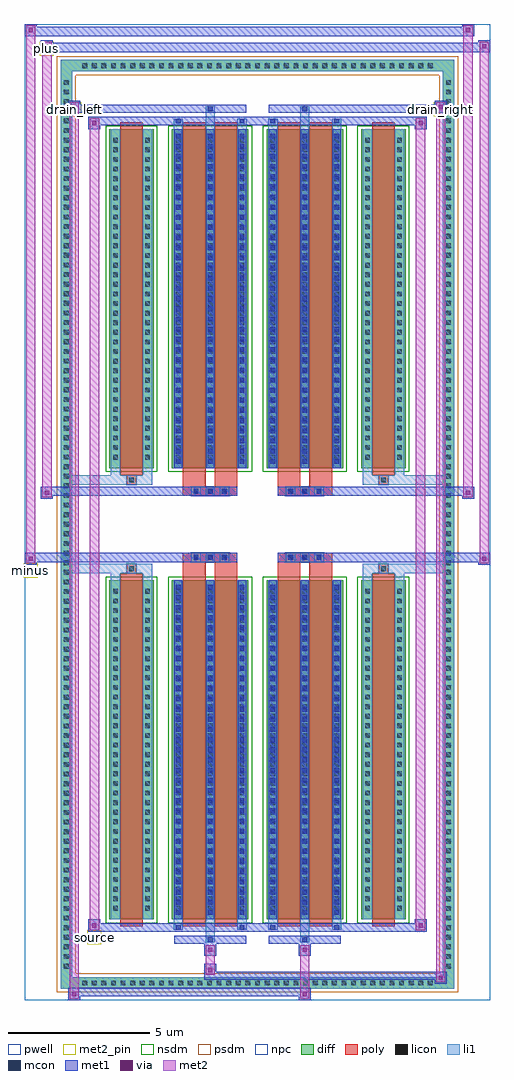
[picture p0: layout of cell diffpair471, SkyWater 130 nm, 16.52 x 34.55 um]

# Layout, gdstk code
import gdstk
lib = gdstk.Library(unit=1e-6, precision=5e-09)
def R(c, l, rs):  # rectangles x0, y0, x1, y1
    for r in rs: c.add(gdstk.rectangle(r[:2], r[2:], *l))
def A(c, l, x, y, w, h, nx, ny, dx, dy):  # array of equal rectangles
    R(c, l, [(x+i*dx, y+j*dy, x+i*dx+w, y+j*dy+h) for i in range(nx) for j in range(ny)])
def P(c, l, *ps):  # polygons
    for p in ps: c.add(gdstk.Polygon(p, *l))
pwell = (64, 44)
diff = (65, 20)
poly = (66, 20)
licon = (66, 44)
li1 = (67, 20)
mcon = (67, 44)
met1 = (68, 20)
via = (68, 44)
met2_pin = (69, 16)
met2 = (69, 20)
nsdm = (93, 44)
psdm = (94, 20)
npc = (95, 20)

diffpair471 = lib.new_cell('diffpair471')
R(diffpair471, pwell, [(-8.24,-16.84,8.24,17.71), (-5.56,-15.03,-0.01,-0.805), (0.01,-15.03,5.56,-0.805), (-5.56,0.805,-0.01,15.03), (0.01,0.805,5.56,15.03)])
A(diffpair471, diff, -6.325, -16.44, 0.41, 0.41, 37, 2, 0.34, 32.47)
A(diffpair471, diff, -6.97, -15.845, 0.41, 0.41, 1, 93, 0, 0.34)
A(diffpair471, diff, 6.56, -15.845, 0.41, 0.41, 1, 93, 0, 0.34)
R(diffpair471, diff, [(-6.325,-16.44,6.325,-16.03), (-6.97,-15.845,-6.56,15.845), (6.56,-15.845,6.97,15.845), (-5.25,-13.985,-3.67,-1.985), (-3.03,-13.985,-0.32,-1.985), (0.32,-13.985,3.03,-1.985), (3.67,-13.985,5.25,-1.985), (-5.25,1.985,-3.67,13.985), (-3.03,1.985,-0.32,13.985), (0.32,1.985,3.03,13.985), (3.67,1.985,5.25,13.985), (-6.325,16.03,6.325,16.44)])
P(diffpair471, diff, [(6.97,16.44),(-6.97,16.44),(-6.97,-16.03),(-6.56,-16.03),(-6.56,16.03),(6.56,16.03),(6.56,-16.03),(-6.56,-16.03),(-6.97,-16.03),(-6.97,-16.44),(6.97,-16.44)])
A(diffpair471, poly, -2.34, -1.335, 0.33, 0.33, 3, 2, 0.5, 2.34)
A(diffpair471, poly, 1.01, -1.335, 0.33, 0.33, 3, 2, 0.5, 2.34)
R(diffpair471, poly, [(-4.86,-14.235,-4.06,-1.735), (-2.64,-14.235,-1.84,-1.735), (-1.51,-14.235,-0.71,-1.735), (0.71,-14.235,1.51,-1.735), (1.84,-14.235,2.64,-1.735), (4.06,-14.235,4.86,-1.735), (-4.625,-1.735,-4.295,-1.405), (-4.625,-1.735,-4.295,-1.405), (-2.64,-1.735,-1.84,-1.335), (-1.51,-1.735,-0.71,-1.335), (0.71,-1.735,1.51,-1.335), (1.84,-1.735,2.64,-1.335), (4.295,-1.735,4.625,-1.405), (4.295,-1.735,4.625,-1.405), (-2.64,-1.335,-0.71,-1.005), (0.71,-1.335,2.64,-1.005), (-2.64,1.005,-0.71,1.335), (0.71,1.005,2.64,1.335), (-2.64,1.335,-1.84,1.735), (-1.51,1.335,-0.71,1.735), (0.71,1.335,1.51,1.735), (1.84,1.335,2.64,1.735), (-4.625,1.405,-4.295,1.735), (-4.625,1.405,-4.295,1.735), (4.295,1.405,4.625,1.735), (4.295,1.405,4.625,1.735), (-4.86,1.735,-4.06,14.235), (-2.64,1.735,-1.84,14.235), (-1.51,1.735,-0.71,14.235), (0.71,1.735,1.51,14.235), (1.84,1.735,2.64,14.235), (4.06,1.735,4.86,14.235)])
A(diffpair471, licon, -6.205, -16.32, 0.17, 0.17, 37, 2, 0.34, 32.47)
A(diffpair471, licon, -6.85, -15.725, 0.17, 0.17, 1, 93, 0, 0.34)
A(diffpair471, licon, 6.68, -15.725, 0.17, 0.17, 1, 93, 0, 0.34)
A(diffpair471, licon, -5.11, -13.68, 0.17, 0.17, 1, 34, 0, 0.34)
A(diffpair471, licon, -3.98, -13.68, 0.17, 0.17, 1, 34, 0, 0.34)
A(diffpair471, licon, -2.89, -13.68, 0.17, 0.17, 3, 34, 1.13, 0.34)
A(diffpair471, licon, 0.46, -13.68, 0.17, 0.17, 3, 34, 1.13, 0.34)
A(diffpair471, licon, 3.81, -13.68, 0.17, 0.17, 1, 34, 0, 0.34)
A(diffpair471, licon, 4.94, -13.68, 0.17, 0.17, 1, 34, 0, 0.34)
A(diffpair471, licon, -2.26, -1.255, 0.17, 0.17, 3, 2, 0.5, 2.34)
A(diffpair471, licon, 1.09, -1.255, 0.17, 0.17, 3, 2, 0.5, 2.34)
A(diffpair471, licon, -5.11, 2.29, 0.17, 0.17, 1, 34, 0, 0.34)
A(diffpair471, licon, -3.98, 2.29, 0.17, 0.17, 1, 34, 0, 0.34)
A(diffpair471, licon, -2.89, 2.29, 0.17, 0.17, 3, 34, 1.13, 0.34)
A(diffpair471, licon, 0.46, 2.29, 0.17, 0.17, 3, 34, 1.13, 0.34)
A(diffpair471, licon, 3.81, 2.29, 0.17, 0.17, 1, 34, 0, 0.34)
A(diffpair471, licon, 4.94, 2.29, 0.17, 0.17, 1, 34, 0, 0.34)
R(diffpair471, licon, [(-4.545,-1.655,-4.375,-1.485), (4.375,-1.655,4.545,-1.485), (-4.545,1.485,-4.375,1.655), (4.375,1.485,4.545,1.655)])
A(diffpair471, li1, -6.285, -16.4, 0.33, 0.33, 37, 2, 0.34, 32.47)
A(diffpair471, li1, -6.93, -15.805, 0.33, 0.33, 1, 93, 0, 0.34)
A(diffpair471, li1, 6.6, -15.805, 0.33, 0.33, 1, 93, 0, 0.34)
A(diffpair471, li1, -2.97, -13.985, 0.33, 12, 3, 2, 1.13, 15.97)
A(diffpair471, li1, 0.38, -13.985, 0.33, 12, 3, 2, 1.13, 15.97)
A(diffpair471, li1, -2.89, -13.83, 0.17, 0.17, 3, 33, 1.13, 0.36)
A(diffpair471, li1, -2.89, -13.83, 0.17, 11.69, 3, 2, 1.13, 15.97)
A(diffpair471, li1, 0.46, -13.83, 0.17, 0.17, 3, 33, 1.13, 0.36)
A(diffpair471, li1, 0.46, -13.83, 0.17, 11.69, 3, 2, 1.13, 15.97)
A(diffpair471, li1, -5.19, -13.76, 0.33, 0.33, 1, 34, 0, 0.34)
A(diffpair471, li1, -4.06, -13.76, 0.33, 0.33, 1, 34, 0, 0.34)
A(diffpair471, li1, -2.97, -13.76, 0.33, 0.33, 3, 34, 1.13, 0.34)
A(diffpair471, li1, 0.38, -13.76, 0.33, 0.33, 3, 34, 1.13, 0.34)
A(diffpair471, li1, 3.73, -13.76, 0.33, 0.33, 1, 34, 0, 0.34)
A(diffpair471, li1, 4.86, -13.76, 0.33, 0.33, 1, 34, 0, 0.34)
A(diffpair471, li1, -2.34, -1.335, 0.33, 0.33, 3, 2, 0.5, 2.34)
A(diffpair471, li1, 1.01, -1.335, 0.33, 0.33, 3, 2, 0.5, 2.34)
A(diffpair471, li1, -2.89, 2.14, 0.17, 0.17, 3, 33, 1.13, 0.36)
A(diffpair471, li1, 0.46, 2.14, 0.17, 0.17, 3, 33, 1.13, 0.36)
A(diffpair471, li1, -5.19, 2.21, 0.33, 0.33, 1, 34, 0, 0.34)
A(diffpair471, li1, -4.06, 2.21, 0.33, 0.33, 1, 34, 0, 0.34)
A(diffpair471, li1, -2.97, 2.21, 0.33, 0.33, 3, 34, 1.13, 0.34)
A(diffpair471, li1, 0.38, 2.21, 0.33, 0.33, 3, 34, 1.13, 0.34)
A(diffpair471, li1, 3.73, 2.21, 0.33, 0.33, 1, 34, 0, 0.34)
A(diffpair471, li1, 4.86, 2.21, 0.33, 0.33, 1, 34, 0, 0.34)
R(diffpair471, li1, [(-6.97,-16.44,-6.56,-16.03), (-6.97,-16.44,-6.56,-16.03), (-6.56,-16.44,6.56,-16.03), (6.56,-16.44,6.97,-16.03), (6.56,-16.44,6.97,-16.03), (-6.97,-16.03,-6.56,16.03), (6.56,-16.03,6.97,16.03), (-1.84,-14.79,-1.51,-13.985), (-1.76,-14.79,-1.59,-14.62), (1.51,-14.79,1.84,-13.985), (1.59,-14.79,1.76,-14.62), (-2.97,-14.36,-2.64,-13.985), (-2.89,-14.36,-2.72,-14.19), (-0.71,-14.36,-0.38,-13.985), (-0.63,-14.36,-0.46,-14.19), (0.38,-14.36,0.71,-13.985), (0.46,-14.36,0.63,-14.19), (2.64,-14.36,2.97,-13.985), (2.72,-14.36,2.89,-14.19), (-5.19,-13.985,-4.86,-1.985), (-4.06,-13.985,-3.73,-1.985), (3.73,-13.985,4.06,-1.985), (4.86,-13.985,5.19,-1.985), (-5.19,-1.985,-4.86,-1.405), (-4.06,-1.985,-3.73,-1.405), (3.73,-1.985,4.06,-1.405), (4.86,-1.985,5.19,-1.405), (-6.97,-1.735,-4.625,-1.405), (-5.19,-1.735,-4.625,-1.405), (-4.625,-1.735,-4.295,-1.405), (-4.295,-1.735,-3.73,-1.405), (3.73,-1.735,4.295,-1.405), (4.295,-1.735,4.625,-1.405), (4.295,-1.735,6.97,-1.405), (4.625,-1.735,5.19,-1.405), (-6.97,1.405,-4.625,1.735), (-5.19,1.405,-4.625,1.735), (-5.19,1.405,-4.86,1.985), (-4.625,1.405,-4.295,1.735), (-4.295,1.405,-3.73,1.735), (-4.06,1.405,-3.73,1.985), (3.73,1.405,4.295,1.735), (3.73,1.405,4.06,1.985), (4.295,1.405,4.625,1.735), (4.295,1.405,6.97,1.735), (4.625,1.405,5.19,1.735), (4.86,1.405,5.19,1.985), (-5.19,1.985,-4.86,13.985), (-4.06,1.985,-3.73,13.985), (3.73,1.985,4.06,13.985), (4.86,1.985,5.19,13.985), (-2.97,13.985,-2.64,14.36), (-1.84,13.985,-1.51,14.79), (-0.71,13.985,-0.38,14.36), (0.38,13.985,0.71,14.36), (1.51,13.985,1.84,14.79), (2.64,13.985,2.97,14.36), (-2.89,14.19,-2.72,14.36), (-0.63,14.19,-0.46,14.36), (0.46,14.19,0.63,14.36), (2.72,14.19,2.89,14.36), (-1.76,14.62,-1.59,14.79), (1.59,14.62,1.76,14.79), (-6.97,16.03,-6.56,16.44), (-6.97,16.03,-6.56,16.44), (-6.56,16.03,6.56,16.44), (6.56,16.03,6.97,16.44), (6.56,16.03,6.97,16.44)])
A(diffpair471, mcon, -2.89, -13.83, 0.17, 0.17, 3, 33, 1.13, 0.36)
A(diffpair471, mcon, 0.46, -13.83, 0.17, 0.17, 3, 33, 1.13, 0.36)
A(diffpair471, mcon, -2.26, -1.255, 0.17, 0.17, 3, 2, 0.5, 2.34)
A(diffpair471, mcon, 1.09, -1.255, 0.17, 0.17, 3, 2, 0.5, 2.34)
A(diffpair471, mcon, -2.89, 2.14, 0.17, 0.17, 3, 33, 1.13, 0.36)
A(diffpair471, mcon, 0.46, 2.14, 0.17, 0.17, 3, 33, 1.13, 0.36)
R(diffpair471, mcon, [(-1.76,-14.79,-1.59,-14.62), (1.59,-14.79,1.76,-14.62), (-2.89,-14.36,-2.72,-14.19), (-0.63,-14.36,-0.46,-14.19), (0.46,-14.36,0.63,-14.19), (2.72,-14.36,2.89,-14.19), (-2.89,14.19,-2.72,14.36), (-0.63,14.19,-0.46,14.36), (0.46,14.19,0.63,14.36), (2.72,14.19,2.89,14.36), (-1.76,14.62,-1.59,14.79), (1.59,14.62,1.76,14.79)])
A(diffpair471, met1, -2.95, -13.985, 0.29, 12, 3, 2, 1.13, 15.97)
A(diffpair471, met1, 0.4, -13.985, 0.29, 12, 3, 2, 1.13, 15.97)
A(diffpair471, met1, -2.95, -13.89, 0.29, 0.29, 3, 33, 1.13, 0.36)
A(diffpair471, met1, 0.4, -13.89, 0.29, 0.29, 3, 33, 1.13, 0.36)
A(diffpair471, met1, -2.32, -1.315, 0.29, 0.29, 3, 2, 0.5, 2.34)
A(diffpair471, met1, 1.03, -1.315, 0.29, 0.29, 3, 2, 0.5, 2.34)
A(diffpair471, met1, -2.95, 2.08, 0.29, 0.29, 3, 33, 1.13, 0.36)
A(diffpair471, met1, 0.4, 2.08, 0.29, 0.29, 3, 33, 1.13, 0.36)
R(diffpair471, met1, [(-6.7,-16.84,-6.27,-16.41), (1.46,-16.84,1.89,-16.41), (-6.7,-16.7,1.89,-16.41), (6.27,-16.27,6.7,-15.84), (-1.89,-16.13,6.7,-15.84), (-1.89,-15.99,-1.46,-15.56), (-1.89,-15.28,-1.46,-14.85), (1.46,-15.28,1.89,-14.85), (-2.95,-14.85,-0.4,-14.56), (-1.82,-14.85,-1.53,-14.56), (0.4,-14.85,2.95,-14.56), (1.53,-14.85,1.82,-14.56), (-5.99,-14.42,-5.56,-13.99), (-5.99,-14.42,-2.95,-14.13), (-2.95,-14.42,-2.66,-14.13), (-2.95,-14.42,-0.4,-14.13), (-0.69,-14.42,-0.4,-14.13), (-0.4,-14.42,0.4,-14.13), (0.4,-14.42,0.69,-14.13), (0.4,-14.42,2.95,-14.13), (2.66,-14.42,2.95,-14.13), (2.95,-14.42,5.99,-14.13), (5.56,-14.42,5.99,-13.99), (-8.24,-1.435,-7.81,-1.005), (7.81,-1.435,8.24,-1.005), (-8.24,-1.335,-0.71,-1.005), (-2.64,-1.335,-0.71,-1.005), (0.71,-1.335,2.64,-1.005), (0.71,-1.335,8.24,-1.005), (-7.67,0.905,-7.24,1.335), (7.24,0.905,7.67,1.335), (-7.67,1.005,-2.64,1.335), (-2.64,1.005,-0.71,1.335), (0.71,1.005,2.64,1.335), (2.64,1.005,7.67,1.335), (-5.99,13.99,-5.56,14.42), (5.56,13.99,5.99,14.42), (-5.99,14.13,-2.95,14.42), (-2.95,14.13,-2.66,14.42), (-2.95,14.13,-0.4,14.42), (-0.69,14.13,-0.4,14.42), (-0.4,14.13,0.4,14.42), (0.4,14.13,0.69,14.42), (0.4,14.13,2.95,14.42), (2.66,14.13,2.95,14.42), (2.95,14.13,5.99,14.42), (-6.7,14.56,-6.27,14.99), (-6.7,14.56,-2.95,14.85), (-2.95,14.56,-0.4,14.85), (-1.82,14.56,-1.53,14.85), (0.4,14.56,2.95,14.85), (1.53,14.56,1.82,14.85), (2.95,14.56,6.7,14.85), (6.27,14.56,6.7,14.99), (-7.67,16.71,-7.24,17.14), (-7.67,16.71,-5.56,17.04), (-5.56,16.71,5.56,17.04), (5.56,16.71,8.24,17.04), (7.81,16.71,8.24,17.14), (-8.24,17.28,-7.81,17.71), (-8.24,17.28,-5.56,17.61), (-5.56,17.28,5.56,17.61), (5.56,17.28,7.67,17.61), (7.24,17.28,7.67,17.71)])
R(diffpair471, via, [(-6.56,-16.7,-6.41,-16.55), (1.6,-16.7,1.75,-16.55), (6.41,-16.13,6.56,-15.98), (-1.75,-15.85,-1.6,-15.7), (-1.75,-15.14,-1.6,-14.99), (1.6,-15.14,1.75,-14.99), (-5.85,-14.28,-5.7,-14.13), (5.7,-14.28,5.85,-14.13), (-8.1,-1.295,-7.95,-1.145), (7.95,-1.295,8.1,-1.145), (-7.53,1.045,-7.38,1.195), (7.38,1.045,7.53,1.195), (-5.85,14.13,-5.7,14.28), (5.7,14.13,5.85,14.28), (-6.56,14.7,-6.41,14.85), (6.41,14.7,6.56,14.85), (-7.53,16.85,-7.38,17), (7.95,16.85,8.1,17), (-8.1,17.42,-7.95,17.57), (7.38,17.42,7.53,17.57)])
R(diffpair471, met2_pin, [(-6.025,-14.87,-5.525,-14.37), (-8.275,-1.885,-7.775,-1.385), (-6.735,14.44,-6.235,14.94), (6.235,14.44,6.735,14.94), (-7.705,16.59,-7.205,17.09)])
R(diffpair471, met2, [(-6.65,-16.79,-6.32,-16.46), (-6.65,-16.79,-6.32,14.94), (1.51,-16.79,1.84,-16.46), (1.51,-16.46,1.84,-15.23), (6.32,-16.22,6.65,-15.89), (6.32,-16.22,6.65,14.94), (-1.84,-15.94,-1.51,-15.61), (-1.84,-15.61,-1.51,-15.23), (-1.84,-15.23,-1.51,-14.9), (1.51,-15.23,1.84,-14.9), (-5.94,-14.37,-5.61,-14.04), (-5.94,-14.37,-5.61,14.37), (5.61,-14.37,5.94,-14.04), (5.61,-14.37,5.94,14.37), (-8.19,-1.385,-7.86,-1.055), (-8.19,-1.385,-7.86,17.66), (7.86,-1.385,8.19,-1.055), (7.86,-1.385,8.19,17.09), (-7.62,0.955,-7.29,1.285), (-7.62,0.955,-7.29,17.09), (7.29,0.955,7.62,1.285), (7.29,0.955,7.62,17.66), (-5.94,14.04,-5.61,14.37), (5.61,14.04,5.94,14.37), (-6.65,14.61,-6.32,14.94), (6.32,14.61,6.65,14.94), (-7.62,16.76,-7.29,17.09), (7.86,16.76,8.19,17.09), (-8.19,17.33,-7.86,17.66), (7.29,17.33,7.62,17.66)])
P(diffpair471, met2, [(8.19,-1.385),(8.19,-1.385),(8.19,-1.055),(8.19,-1.055)],
  [(8.19,16.76),(8.19,16.76),(8.19,17.09),(8.19,17.09)],
  [(-7.86,-1.385),(-7.86,-1.385),(-7.86,-1.055),(-7.86,-1.055)],
  [(-7.86,17.33),(-7.86,17.33),(-7.86,17.66),(-7.86,17.66)],
  [(7.62,0.955),(7.62,0.955),(7.62,1.285),(7.62,1.285)],
  [(7.62,17.33),(7.62,17.33),(7.62,17.66),(7.62,17.66)],
  [(-7.29,0.955),(-7.29,0.955),(-7.29,1.285),(-7.29,1.285)],
  [(-7.29,16.76),(-7.29,16.76),(-7.29,17.09),(-7.29,17.09)],
  [(-6.32,-16.79),(-6.32,-16.79),(-6.32,-16.46),(-6.32,-16.46)],
  [(-6.32,14.61),(-6.32,14.61),(-6.32,14.94),(-6.32,14.94)],
  [(6.65,-16.22),(6.65,-16.22),(6.65,-15.89),(6.65,-15.89)],
  [(6.65,14.61),(6.65,14.61),(6.65,14.94),(6.65,14.94)],
  [(-5.61,-14.37),(-5.61,-14.37),(-5.61,-14.04),(-5.61,-14.04)],
  [(-5.61,14.04),(-5.61,14.04),(-5.61,14.37),(-5.61,14.37)],
  [(5.94,-14.37),(5.94,-14.37),(5.94,-14.04),(5.94,-14.04)],
  [(5.94,14.04),(5.94,14.04),(5.94,14.37),(5.94,14.37)])
R(diffpair471, nsdm, [(-5.38,-14.115,-3.54,-1.855), (-3.16,-14.115,-0.19,-1.855), (0.19,-14.115,3.16,-1.855), (3.54,-14.115,5.38,-1.855), (-5.38,1.855,-3.54,14.115), (-3.16,1.855,-0.19,14.115), (0.19,1.855,3.16,14.115), (3.54,1.855,5.38,14.115)])
P(diffpair471, psdm, [(7.1,16.57),(-7.1,16.57),(-7.1,-15.9),(-6.43,-15.9),(-6.43,15.9),(6.43,15.9),(6.43,-15.9),(-6.43,-15.9),(-7.1,-15.9),(-7.1,-16.57),(7.1,-16.57)])
A(diffpair471, npc, -2.36, -1.355, 0.37, 0.37, 3, 2, 0.5, 2.34)
A(diffpair471, npc, 0.99, -1.355, 0.37, 0.37, 3, 2, 0.5, 2.34)
R(diffpair471, npc, [(-4.645,-1.755,-4.275,-1.385), (4.275,-1.755,4.645,-1.385), (-2.36,-1.355,-1.49,-0.985), (-2.36,-1.355,-1.49,-0.985), (-1.86,-1.355,-0.99,-0.985), (-1.86,-1.355,-0.99,-0.985), (0.99,-1.355,1.86,-0.985), (0.99,-1.355,1.86,-0.985), (1.49,-1.355,2.36,-0.985), (1.49,-1.355,2.36,-0.985), (-2.36,0.985,-1.49,1.355), (-2.36,0.985,-1.49,1.355), (-1.86,0.985,-0.99,1.355), (-1.86,0.985,-0.99,1.355), (0.99,0.985,1.86,1.355), (0.99,0.985,1.86,1.355), (1.49,0.985,2.36,1.355), (1.49,0.985,2.36,1.355), (-4.645,1.385,-4.275,1.755), (4.275,1.385,4.645,1.755)])
diffpair471.add(gdstk.Label('minus', (-8.025,-1.635), layer=69, texttype=5))
diffpair471.add(gdstk.Label('drain_right', (6.485,14.69), layer=69, texttype=5))
diffpair471.add(gdstk.Label('drain_left', (-6.485,14.69), layer=69, texttype=5))
diffpair471.add(gdstk.Label('source', (-5.775,-14.62), layer=69, texttype=5))
diffpair471.add(gdstk.Label('plus', (-7.455,16.84), layer=69, texttype=5))

lib.write_gds('diffpair471.gds')
